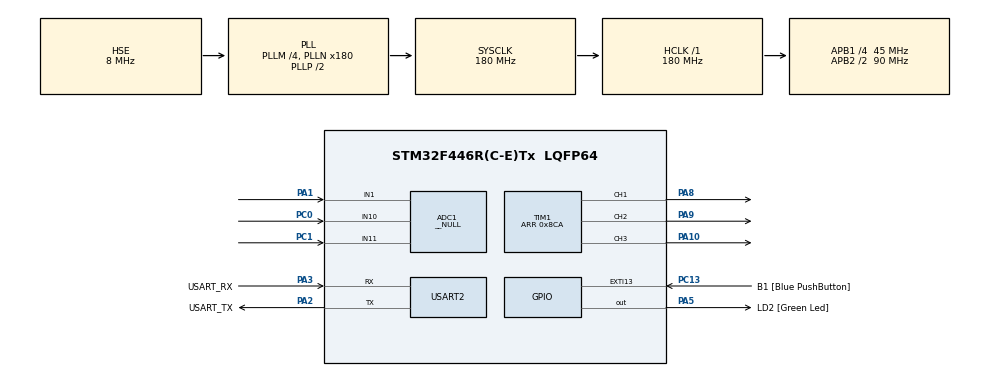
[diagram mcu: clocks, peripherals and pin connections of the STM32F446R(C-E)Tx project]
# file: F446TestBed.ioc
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ADC1.Channel-0\#ChannelRegularConversion=ADC_CHANNEL_10
ADC1.Channel-12\#ChannelInjectedConversion=ADC_CHANNEL_10
ADC1.Channel-13\#ChannelInjectedConversion=ADC_CHANNEL_11
ADC1.Channel-6\#ChannelInjectedConversion=ADC_CHANNEL_1
ADC1.DiscontinuousConvMode=DISABLE
ADC1.ExternalTrigConv=ADC_SOFTWARE_START
ADC1.ExternalTrigConvEdge=ADC_EXTERNALTRIGCONVEDGE_NONE
ADC1.ExternalTrigInjecConv=ADC_EXTERNALTRIGINJECCONV_T1_CC4
ADC1.ExternalTrigInjecConvEdge=ADC_EXTERNALTRIGINJECCONVEDGE_RISING
ADC1.InjNumberOfConversion=3
ADC1.InjectedOffset-12\#ChannelInjectedConversion=0
ADC1.InjectedOffset-13\#ChannelInjectedConversion=0
ADC1.InjectedOffset-6\#ChannelInjectedConversion=0
ADC1.InjectedRank-12\#ChannelInjectedConversion=2
ADC1.InjectedRank-13\#ChannelInjectedConversion=3
ADC1.InjectedRank-6\#ChannelInjectedConversion=1
ADC1.Mode=__NULL
ADC1.NbrOfConversion=1
ADC1.NbrOfConversionFlag=1
ADC1.Rank-0\#ChannelRegularConversion=1
ADC1.SamplingTime-0\#ChannelRegularConversion=ADC_SAMPLETIME_3CYCLES
ADC1.SamplingTime-12\#ChannelInjectedConversion=ADC_SAMPLETIME_3CYCLES
ADC1.SamplingTime-13\#ChannelInjectedConversion=ADC_SAMPLETIME_3CYCLES
ADC1.SamplingTime-6\#ChannelInjectedConversion=ADC_SAMPLETIME_3CYCLES
ADC1.ScanConvMode=ENABLE
ADC1.master=1
Mcu.Family=STM32F4
Mcu.Name=STM32F446R(C-E)Tx
Mcu.Package=LQFP64
NVIC.ADC_IRQn=true\:0\:0\:false\:false\:true\:true\:true\:true
NVIC.PriorityGroup=NVIC_PRIORITYGROUP_0
NVIC.TIM1_UP_TIM10_IRQn=true\:0\:0\:false\:false\:true\:true\:true\:true
PA1.Signal=ADCx_IN1
PA10.Signal=S_TIM1_CH3
PA13.GPIO_Label=TMS
PA13.Mode=Serial_Wire
PA13.Signal=SYS_JTMS-SWDIO
PA14.GPIO_Label=TCK
PA14.Mode=Serial_Wire
PA14.Signal=SYS_JTCK-SWCLK
PA2.GPIO_Label=USART_TX
PA2.Mode=Asynchronous
PA2.Signal=USART2_TX
PA3.GPIO_Label=USART_RX
PA3.Mode=Asynchronous
PA3.Signal=USART2_RX
PA5.GPIO_Label=LD2 [Green Led]
PA5.Signal=GPIO_Output
PA8.Signal=S_TIM1_CH1
PA9.Signal=S_TIM1_CH2
PB3.GPIO_Label=SWO
PB3.Signal=SYS_JTDO-SWO
PC0.Signal=ADCx_IN10
PC1.Signal=ADCx_IN11
PC13.GPIO_Label=B1 [Blue PushButton]
PC13.GPIO_ModeDefaultEXTI=GPIO_MODE_IT_FALLING
PC13.Signal=GPXTI13
PC14-OSC32_IN.Mode=LSE-External-Oscillator
PC14-OSC32_IN.Signal=RCC_OSC32_IN
PC15-OSC32_OUT.Mode=LSE-External-Oscillator
PC15-OSC32_OUT.Signal=RCC_OSC32_OUT
PH0-OSC_IN.Mode=HSE-External-Oscillator
PH0-OSC_IN.Signal=RCC_OSC_IN
PH1-OSC_OUT.Mode=HSE-External-Oscillator
PH1-OSC_OUT.Signal=RCC_OSC_OUT
ProjectManager.HeapSize=0x200
ProjectManager.StackSize=0x400
ProjectManager.TargetToolchain=CMake
RCC.48MHZClocksFreq_Value=84000000
RCC.AHBFreq_Value=180000000
RCC.APB1CLKDivider=RCC_HCLK_DIV4
RCC.APB1Freq_Value=45000000
RCC.APB1TimFreq_Value=90000000
RCC.APB2CLKDivider=RCC_HCLK_DIV2
RCC.APB2Freq_Value=90000000
RCC.APB2TimFreq_Value=180000000
RCC.CortexFreq_Value=180000000
RCC.FLatency-AdvancedSettings=FLASH_LATENCY_5
RCC.HCLKFreq_Value=180000000
RCC.HSE_VALUE=8000000
RCC.HSI_VALUE=16000000
RCC.PLLM=4
RCC.PLLN=180
RCC.PLLSourceVirtual=RCC_PLLSOURCE_HSE
RCC.SYSCLKFreq_VALUE=180000000
RCC.SYSCLKSource=RCC_SYSCLKSOURCE_PLLCLK
RCC.USBFreq_Value=180000000
RCC.VCOOutputFreq_Value=360000000
SH.ADCx_IN1.0=ADC1_IN1,IN1
SH.ADCx_IN10.0=ADC1_IN10,IN10
SH.ADCx_IN11.0=ADC1_IN11,IN11
SH.S_TIM1_CH1.0=TIM1_CH1,PWM Generation1 CH1
SH.S_TIM1_CH2.0=TIM1_CH2,PWM Generation2 CH2
SH.S_TIM1_CH3.0=TIM1_CH3,PWM Generation3 CH3
TIM1.AutoReloadPreload=TIM_AUTORELOAD_PRELOAD_ENABLE
TIM1.Channel-PWM\ Generation1\ CH1=TIM_CHANNEL_1
TIM1.Channel-PWM\ Generation2\ CH2=TIM_CHANNEL_2
TIM1.Channel-PWM\ Generation3\ CH3=TIM_CHANNEL_3
TIM1.Channel-PWM\ Generation4\ No\ Output=TIM_CHANNEL_4
TIM1.CounterMode=TIM_COUNTERMODE_CENTERALIGNED1
TIM1.OCFastMode_PWM-PWM\ Generation1\ CH1=TIM_OCFAST_ENABLE
TIM1.OCFastMode_PWM-PWM\ Generation2\ CH2=TIM_OCFAST_ENABLE
TIM1.OCFastMode_PWM-PWM\ Generation3\ CH3=TIM_OCFAST_ENABLE
TIM1.OCFastMode_PWM-PWM\ Generation4\ No\ Output=TIM_OCFAST_ENABLE
TIM1.OCPolarity_1=TIM_OCPOLARITY_LOW
TIM1.OCPolarity_2=TIM_OCPOLARITY_LOW
TIM1.OCPolarity_3=TIM_OCPOLARITY_LOW
TIM1.Period=0x8CA
TIM1.RepetitionCounter=1
TIM1.TIM_MasterOutputTrigger=TIM_TRGO_UPDATE
USART2.VirtualMode=VM_ASYNC
VP_TIM1_VS_ClockSourceINT.Mode=Internal
VP_TIM1_VS_no_output4.Mode=PWM Generation4 No Output
board=NUCLEO-F446RE

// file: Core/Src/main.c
/* USER CODE BEGIN Header */
/**
  ******************************************************************************
  * @file           : main.c
  * @brief          : Main program body
  ******************************************************************************
  * @attention
  *
  * Copyright (c) 2026 STMicroelectronics.
  * All rights reserved.
  *
  * This software is licensed under terms that can be found in the LICENSE file
  * in the root directory of this software component.
  * If no LICENSE file comes with this software, it is provided AS-IS.
  *
  ******************************************************************************
  */
/* USER CODE END Header */
#include "main.h"
#include "adc.h"
#include "tim.h"
#include "usart.h"
#include "gpio.h"

/* USER CODE BEGIN Includes */
#include <stdio.h>
/* USER CODE END Includes */

/* USER CODE BEGIN PV */
// extern uint16_t AD_IA;
// extern uint16_t AD_IB;
// extern uint16_t AD_IC;
// extern uint16_t ADC1_2;
// extern uint16_t ADC2_2;
// extern uint16_t ADC3_2;
/* USER CODE END PV */

void SystemClock_Config(void);

/* USER CODE BEGIN 0 */

// Redirect printf to UART
int __io_putchar(int ch)
{
  HAL_UART_Transmit(&huart2, (uint8_t *)&ch, 1, HAL_MAX_DELAY);
  return ch;
}

/* USER CODE END 0 */

int main(void)
{

  /* MCU Configuration--------------------------------------------------------*/

  /* Reset of all peripherals, Initializes the Flash interface and the Systick. */
  HAL_Init();

  /* Configure the system clock */
  SystemClock_Config();

  /* Initialize all configured peripherals */
  MX_GPIO_Init();
  MX_USART2_UART_Init();
  MX_ADC1_Init();
  MX_TIM1_Init();
  /* USER CODE BEGIN 2 */
  // uint16_t AD_IA = 0;
  // uint16_t AD_IB = 0;
  // uint16_t AD_IC = 0;
  // uint16_t ADC1_2 = 0;
  // uint16_t ADC2_2 = 0;
  // uint16_t ADC3_2 = 0;
  HAL_TIM_PWM_Start(&htim1, TIM_CHANNEL_1);
  HAL_TIM_PWM_Start(&htim1, TIM_CHANNEL_2);
  HAL_TIM_PWM_Start(&htim1, TIM_CHANNEL_3);
  HAL_TIM_PWM_Start(&htim1, TIM_CHANNEL_4);
  HAL_Delay(50);
  __HAL_TIM_SET_COMPARE(&htim1, TIM_CHANNEL_1, ((htim1.Instance->ARR))*0.15f);
  // print out pcr value for debugging
  printf("TIM1 PCR: %u\r\n", htim1.Instance->RCR);
  __HAL_TIM_SET_COMPARE(&htim1, TIM_CHANNEL_4, 320);
  // Enable DWT cycle counter for microsecond timing
  CoreDebug->DEMCR |= CoreDebug_DEMCR_TRCENA_Msk;
  DWT->CYCCNT = 0;
  DWT->CTRL |= DWT_CTRL_CYCCNTENA_Msk;
  HAL_ADC_Start(&hadc1);
  // HAL_ADC_Start(&hadc2);
  // HAL_ADC_Start(&hadc3);
  HAL_ADCEx_InjectedStart_IT(&hadc1);
  // HAL_ADCEx_InjectedStart_IT(&hadc2);
  // HAL_ADCEx_InjectedStart_IT(&hadc3);
  HAL_TIM_Base_Start_IT(&htim1);  // Start timer with interrupt for periodic ADC reading
  /* USER CODE END 2 */

  /* Infinite loop */
  while (1)
  {

    /* USER CODE BEGIN 3 */
    // printf("IA: %u, IB: %u, IC: %u, ADC1_2: %u, ADC2_2: %u, ADC3_2: %u\r\n", AD_IA, AD_IB, AD_IC, ADC1_2, ADC2_2, ADC3_2);
    HAL_Delay(100);  // Print every 100ms to avoid flooding
    // printf("adc1->jdr1: %u\r\n", ADC1->JDR1);
    // printf("adc1->jdr2: %u\r\n", ADC1->JDR2);
    // printf("adc1->jdr3: %u\r\n", ADC1->JDR3);
  }

  /* USER CODE END 3 */
}

void SystemClock_Config(void)
{
  RCC_OscInitTypeDef RCC_OscInitStruct = {0};
  RCC_ClkInitTypeDef RCC_ClkInitStruct = {0};

  /** Configure the main internal regulator output voltage
  */
  __HAL_RCC_PWR_CLK_ENABLE();
  __HAL_PWR_VOLTAGESCALING_CONFIG(PWR_REGULATOR_VOLTAGE_SCALE1);

  /** Initializes the RCC Oscillators according to the specified parameters
  * in the RCC_OscInitTypeDef structure.
  */
  RCC_OscInitStruct.OscillatorType = RCC_OSCILLATORTYPE_HSE;
  RCC_OscInitStruct.HSEState = RCC_HSE_ON;
  RCC_OscInitStruct.PLL.PLLState = RCC_PLL_ON;
  RCC_OscInitStruct.PLL.PLLSource = RCC_PLLSOURCE_HSE;
  RCC_OscInitStruct.PLL.PLLM = 4;
  RCC_OscInitStruct.PLL.PLLN = 180;
  RCC_OscInitStruct.PLL.PLLP = RCC_PLLP_DIV2;
  RCC_OscInitStruct.PLL.PLLQ = 2;
  RCC_OscInitStruct.PLL.PLLR = 2;
  if (HAL_RCC_OscConfig(&RCC_OscInitStruct) != HAL_OK)
  {
    Error_Handler();
  }

  /** Activate the Over-Drive mode
  */
  if (HAL_PWREx_EnableOverDrive() != HAL_OK)
  {
    Error_Handler();
  }

  /** Initializes the CPU, AHB and APB buses clocks
  */
  RCC_ClkInitStruct.ClockType = RCC_CLOCKTYPE_HCLK|RCC_CLOCKTYPE_SYSCLK
                              |RCC_CLOCKTYPE_PCLK1|RCC_CLOCKTYPE_PCLK2;
  RCC_ClkInitStruct.SYSCLKSource = RCC_SYSCLKSOURCE_PLLCLK;
  RCC_ClkInitStruct.AHBCLKDivider = RCC_SYSCLK_DIV1;
  RCC_ClkInitStruct.APB1CLKDivider = RCC_HCLK_DIV4;
  RCC_ClkInitStruct.APB2CLKDivider = RCC_HCLK_DIV2;

  if (HAL_RCC_ClockConfig(&RCC_ClkInitStruct, FLASH_LATENCY_5) != HAL_OK)
  {
    Error_Handler();
  }
}

/* USER CODE BEGIN 4 */
void HAL_ADCEx_InjectedConvCpltCallback(ADC_HandleTypeDef* hadc) {
	// if (hadc->Instance == ADC1) {
  // }
	// if (hadc->Instance == ADC2) {
  // }
	// if (hadc->Instance == ADC3) {
	// }
    GPIOA->ODR ^= GPIO_PIN_5;
    //toggle pin5 on gpioa for timing measurement - using direct register access for speed
    GPIOA->ODR ^= GPIO_PIN_5;
}
/* USER CODE END 4 */

void Error_Handler(void)
{
  __disable_irq();
  while (1)
  {
  }
}
